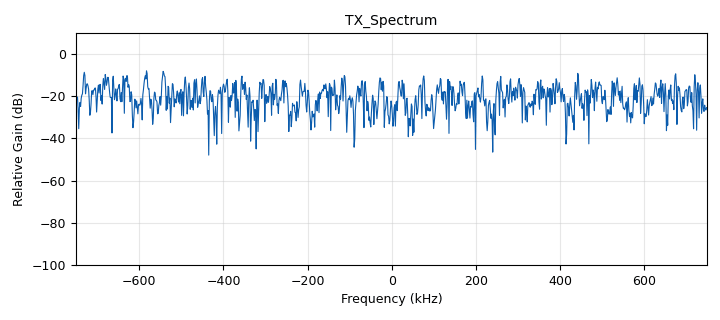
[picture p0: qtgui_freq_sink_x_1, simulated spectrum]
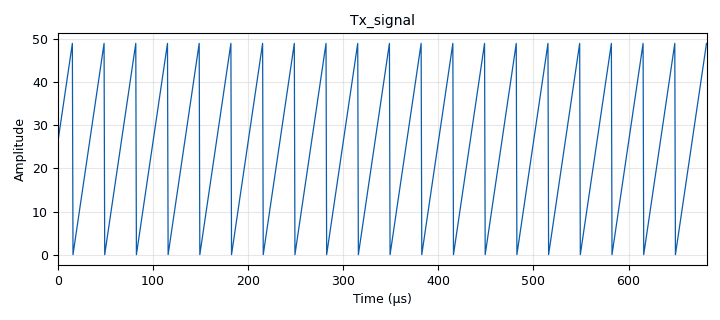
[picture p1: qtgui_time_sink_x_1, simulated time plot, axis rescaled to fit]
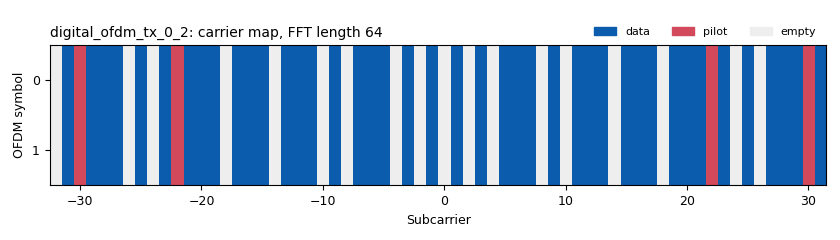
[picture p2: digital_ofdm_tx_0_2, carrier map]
options:
  parameters:
    author: abhilash
    generate_options: qt_gui
    id: fft_ofdm_papr
    output_language: python
    title: Not titled yet
  states: {}

blocks:
- name: fft_len
  id: variable
  parameters:
    value: '64'
  states: {}
- name: len_tag_key
  id: variable
  parameters:
    value: '"packet_len"'
  states: {}
- name: packet_len
  id: variable
  parameters:
    value: '50'
  states: {}
- name: samp_rate
  id: variable
  parameters:
    value: '1500000'
  states: {}
- name: blocks_complex_to_mag_squared_0
  id: blocks_complex_to_mag_squared
  parameters: {}
  states: {}
- name: blocks_multiply_const_vxx_0
  id: blocks_multiply_const_vxx
  parameters:
    const: 1/20
    type: complex
  states: {}
- name: blocks_stream_to_tagged_stream_0
  id: blocks_stream_to_tagged_stream
  parameters:
    len_tag_key: len_tag_key
    packet_len: packet_len
    type: byte
  states: {}
- name: blocks_tag_debug_0
  id: blocks_tag_debug
  parameters:
    display: 'False'
    name: Rx Packets
    type: byte
  states: {}
- name: blocks_throttle_1
  id: blocks_throttle
  parameters:
    samples_per_second: samp_rate
    type: byte
  states: {}
- name: blocks_uchar_to_float_0
  id: blocks_uchar_to_float
  parameters: {}
  states: {}
- name: blocks_uchar_to_float_0_1
  id: blocks_uchar_to_float
  parameters: {}
  states: {}
- name: blocks_vector_source_x_0
  id: blocks_vector_source_x
  parameters:
    repeat: 'True'
    type: byte
    vector: range(50)
  states: {}
- name: digital_ofdm_rx_0_3
  id: digital_ofdm_rx
  parameters:
    cp_len: fft_len//4
    fft_len: '64'
    header_mod: '"BPSK"'
    occupied_carriers: ((-31,-29,-28,-27,-25,-23,-21,-20,-19,-17,-16,-15,-13,-12,-11,-9,-7,-6,-5,-3,-1,1,3,5,6,7,9,11,12,13,15,16,17,19,20,21,23,25,27,28,29,31),)
    packet_len_key: '"len_tag_key"'
    payload_mod: '"QPSK"'
    pilot_carriers: ((-30,-22,22,30),)
    pilot_symbols: ((1,-1,1,-1),)
    sync_word1: None
    sync_word2: None
  states: {}
- name: digital_ofdm_tx_0_2
  id: digital_ofdm_tx
  parameters:
    cp_len: fft_len//4
    fft_len: '64'
    header_mod: '"BPSK"'
    occupied_carriers: ((-31,-29,-28,-27,-25,-23,-21,-20,-19,-17,-16,-15,-13,-12,-11,-9,-7,-6,-5,-3,-1,1,3,5,6,7,9,11,12,13,15,16,17,19,20,21,23,25,27,28,29,31),)
    packet_len_key: len_tag_key
    payload_mod: '"QPSK"'
    pilot_carriers: ((-30,-22,22,30),)
    pilot_symbols: ((1,-1,1,-1),)
    rolloff: '0'
    sync_word1: None
    sync_word2: None
  states: {}
- name: epy_block_0
  id: epy_block
  parameters:
    _source_code: |-
      """
      Embedded Python Blocks:

      Each time this file is saved, GRC will instantiate the first class it finds
      to get ports and parameters of your block. The arguments to __init__  will
      be the parameters. All of them are required to have default values!
      """
      import statistics as stat
      import numpy as np
      from gnuradio import gr


      class blk(gr.sync_block):  # other base classes are basic_block, decim_block, interp_block
          """Embedded Python Block example - a simple multiply const"""

          def __init__(self):  # only default arguments here
              """arguments to this function show up as parameters in GRC"""
              gr.sync_block.__init__(
                  self,
                  name='PAPR calculator',   # will show up in GRC
                  in_sig=[np.float32],
                  out_sig=[np.float32]
              )
              # if an attribute with the same name as a parameter is found,
              # a callback is registered (properties work, too).
              self.num=0
              self.den = 0
              self.papr = 0

          def work(self, input_items, output_items):
              """example: multiply with constant"""
              self.den=stat.mean(input_items[0])
              self.num=max(input_items[0])
              self.papr=self.num/self.den
              output_items[0][:]=self.papr
              
              return len(output_items[0])
  states: {}
- name: osmosdr_sink_0
  id: osmosdr_sink
  parameters:
    args: hackrf=0,buffer=128,bufflen=32768
    bb_gain0: '30'
    bw0: 1e6
    freq0: 700e6
    gain0: '15'
    if_gain0: '30'
    sample_rate: samp_rate
    sync: pc_clock
    type: fc32
  states: {}
- name: osmosdr_source_0
  id: osmosdr_source
  parameters:
    args: rt=0,buffers=128,buflen=32768
    bb_gain0: '30'
    bw0: 1e6
    freq0: 700e6
    gain0: '15'
    gain_mode0: 'False'
    if_gain0: '30'
    sample_rate: samp_rate
    sync: pc_clock
    type: fc32
  states: {}
- name: qtgui_freq_sink_x_0
  id: qtgui_freq_sink_x
  parameters:
    bw: samp_rate
    fc: '0'
    fftsize: '1024'
    type: complex
  states: {}
- name: qtgui_freq_sink_x_1
  id: qtgui_freq_sink_x
  parameters:
    bw: samp_rate
    ctrlpanel: 'True'
    fc: '0'
    fftsize: '1024'
    name: '"TX_Spectrum"'
    type: complex
    ymin: '-100'
  states: {}
- name: qtgui_number_sink_0_0
  id: qtgui_number_sink
  parameters:
    autoscale: 'True'
    graph_type: qtgui.NUM_GRAPH_HORIZ
    name: peak power recieved
    type: float
  states: {}
- name: qtgui_time_sink_x_0
  id: qtgui_time_sink_x
  parameters:
    size: '1024'
    srate: samp_rate
    type: float
  states: {}
- name: qtgui_time_sink_x_1
  id: qtgui_time_sink_x
  parameters:
    name: '"Tx_signal"'
    size: '1024'
    srate: samp_rate
    type: float
  states: {}
- name: virtual_sink_1
  id: virtual_sink
  parameters:
    stream_id: signal_to_rx
  states: {}
- name: virtual_sink_4
  id: virtual_sink
  parameters:
    stream_id: tx_float_signal
  states: {}
- name: virtual_source_6
  id: virtual_source
  parameters:
    stream_id: signal_to_rx
  states: {}

connections:
- [blocks_complex_to_mag_squared_0, '0', epy_block_0, '0']
- [blocks_multiply_const_vxx_0, '0', osmosdr_sink_0, '0']
- [blocks_stream_to_tagged_stream_0, '0', blocks_throttle_1, '0']
- [blocks_throttle_1, '0', digital_ofdm_tx_0_2, '0']
- [blocks_uchar_to_float_0, '0', qtgui_time_sink_x_0, '0']
- [blocks_uchar_to_float_0_1, '0', qtgui_time_sink_x_1, '0']
- [blocks_uchar_to_float_0_1, '0', virtual_sink_4, '0']
- [blocks_vector_source_x_0, '0', blocks_stream_to_tagged_stream_0, '0']
- [blocks_vector_source_x_0, '0', blocks_uchar_to_float_0_1, '0']
- [digital_ofdm_rx_0_3, '0', blocks_tag_debug_0, '0']
- [digital_ofdm_rx_0_3, '0', blocks_uchar_to_float_0, '0']
- [digital_ofdm_tx_0_2, '0', blocks_multiply_const_vxx_0, '0']
- [digital_ofdm_tx_0_2, '0', qtgui_freq_sink_x_1, '0']
- [epy_block_0, '0', qtgui_number_sink_0_0, '0']
- [osmosdr_source_0, '0', digital_ofdm_rx_0_3, '0']
- [osmosdr_source_0, '0', qtgui_freq_sink_x_0, '0']
- [osmosdr_source_0, '0', virtual_sink_1, '0']
- [virtual_source_6, '0', blocks_complex_to_mag_squared_0, '0']

metadata:
  file_format: 1
  grc_version: 3.10.4.0
